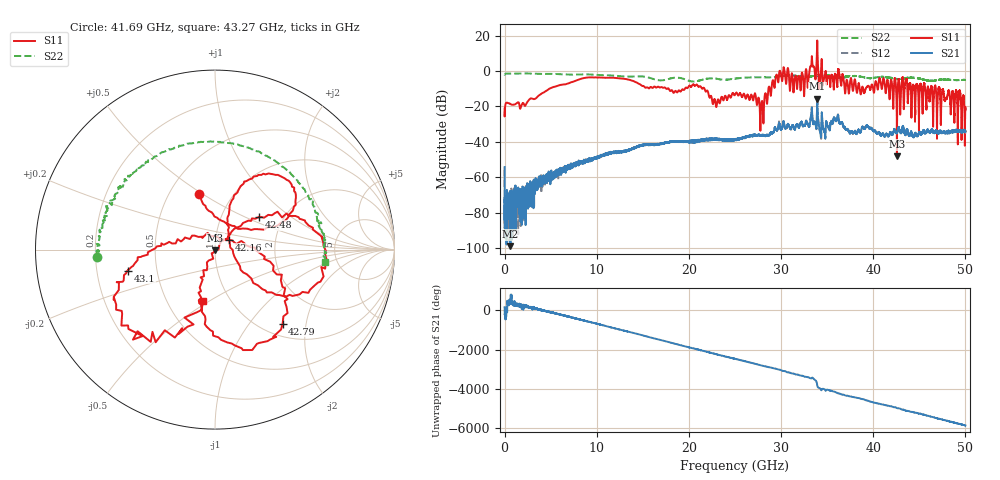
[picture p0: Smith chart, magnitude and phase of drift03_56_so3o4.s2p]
!Created with skrf (http://scikit-rf.org).
# Hz S RI R 50.0
!freq ReS11 ImS11 ReS21 ImS21 ReS12 ImS12 ReS22 ImS22
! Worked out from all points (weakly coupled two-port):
!   10001 points, 300 kHz to 50 GHz, reference 50 ohm
!   highest |S21| = -15.64 dB at 33.93 GHz (marker M1); lowest = -98.9 dB at 630.3 MHz (marker M2)
!   lowest |S11| = -48.2 dB at 42.57 GHz (marker M3), VSWR 1.01, Z = 50.2 - j0.35 ohm
!   |S11| at or under -10 dB: start of sweep to 4.849 GHz; 21.69 GHz to 28.62 GHz (6.936 GHz wide, 27.6 % of centre); 47.2 GHz to end of sweep (the widest 3 of 43)
!   |S22| runs from -5.9 to -1.3 dB; largest |S21 - S12| = 0.02
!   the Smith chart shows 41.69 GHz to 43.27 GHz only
!   S11 on the Smith chart (normalised r, x): 41.69 GHz: 0.70, +0.48; 42.16 GHz: 1.16, +0.13; 42.48 GHz: 1.51, +0.61; 42.79 GHz: 1.23, -1.48; 43.1 GHz: 0.34, -0.11; 43.27 GHz: 0.75, -0.47
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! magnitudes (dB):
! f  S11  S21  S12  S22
! 300 kHz  -21.2  -54.3  -55.6  -2.0
! 255.3 MHz  -17.9  -76.1  -86.0  -1.4
! 630.3 MHz  -18.6  -98.9  -83.4  -1.5
! 8.335 GHz  -4.3  -52.1  -51.4  -1.9
! 16.67 GHz  -8.8  -41.4  -41.5  -5.2
! 21.01 GHz  -8.7  -39.1  -38.9  -5.6
! 22.81 GHz  -16.1  -38.5  -38.6  -4.2
! 25 GHz  -13.4  -38.7  -38.9  -4.3
! 27.92 GHz  -17.1  -36.5  -36.4  -3.5
! 29.69 GHz  -6.4  -32.2  -31.5  -3.1
! 32.32 GHz  -1.5  -30.3  -30.6  -3.3
! 33.34 GHz  8.1  -20.4  -20.7  -2.9
! 33.93 GHz  17.3  -15.6  -15.8  -2.5
! 41.67 GHz  -9.0  -36.5  -36.9  -3.7
! 41.69 GHz  -9.9  -36.8  -36.9  -3.6
! 42.16 GHz  -20.5  -35.1  -35.2  -4.1
! 42.48 GHz  -10.2  -35.1  -34.9  -4.4
! 42.57 GHz  -48.2  -34.8  -34.7  -4.4
! 42.79 GHz  -5.1  -31.7  -32.4  -4.5
! 43.1 GHz  -6.0  -33.9  -33.8  -4.4
! 43.27 GHz  -10.6  -32.2  -32.5  -4.2
! 50 GHz  -20.5  -34.6  -33.9  -5.0
